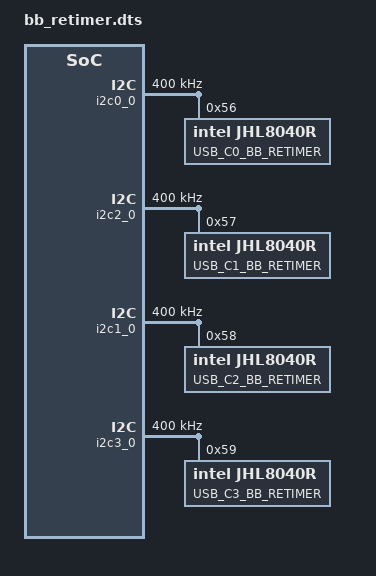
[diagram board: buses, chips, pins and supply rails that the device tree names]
/* Copyright 2022 The Chromium OS Authors. All rights reserved.
 * Use of this source code is governed by a BSD-style license that can be
 * found in the LICENSE file.
 */

&i2c0_0 {
	status = "okay";
	clock-frequency = <I2C_BITRATE_FAST>;
	pinctrl-0 = <&i2c0_0_sda_scl_gpb4_b5>;
	pinctrl-names = "default";

	usb_c0_bb_retimer: jhl8040r@56 {
		compatible = "intel,jhl8040r";
		reg = <0x56>;
		label = "USB_C0_BB_RETIMER";
		reset-pin = <&usb_c0_bb_retimer_rst>;
	};
};

&i2c2_0 {
	status = "okay";
	clock-frequency = <I2C_BITRATE_FAST>;
	pinctrl-0 = <&i2c2_0_sda_scl_gp91_92>;
	pinctrl-names = "default";

	usb_c1_bb_retimer: jhl8040r@57 {
		compatible = "intel,jhl8040r";
		reg = <0x57>;
		label = "USB_C1_BB_RETIMER";
		reset-pin = <&usb_c1_bb_retimer_rst>;
	};
};

&i2c1_0 {
	status = "okay";
	clock-frequency = <I2C_BITRATE_FAST>;
	pinctrl-0 = <&i2c1_0_sda_scl_gp87_90>;
	pinctrl-names = "default";

	usb_c2_bb_retimer: jhl8040r@58 {
		compatible = "intel,jhl8040r";
		reg = <0x58>;
		label = "USB_C2_BB_RETIMER";
		reset-pin = <&usb_c2_bb_retimer_rst>;
	};
};

&i2c3_0 {
	status = "okay";
	clock-frequency = <I2C_BITRATE_FAST>;
	pinctrl-0 = <&i2c3_0_sda_scl_gpd0_d1>;
	pinctrl-names = "default";

	usb_c3_bb_retimer: jhl8040r@59 {
		compatible = "intel,jhl8040r";
		reg = <0x59>;
		label = "USB_C3_BB_RETIMER";
		reset-pin = <&usb_c3_bb_retimer_rst>;
	};
};
